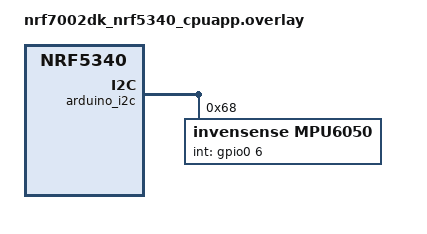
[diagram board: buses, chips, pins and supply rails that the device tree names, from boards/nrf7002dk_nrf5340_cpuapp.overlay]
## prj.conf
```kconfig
# Copyright (c) 2021 Nordic Semiconductor ASA
# SPDX-License-Identifier: Apache-2.0
#
# This file contains selected Kconfig options for the application.

# CONFIG_SENSOR=y
# CONFIG_BOOTLOADER_MCUBOOT=y
# CONFIG_SECURE_BOOT=y
# CONFIG_PCD_APP=y
# CONFIG_BOARD_ENABLE_CPUNET=y

CONFIG_SHELL=y
CONFIG_I2C=y
CONFIG_SENSOR=y
CONFIG_MPU6050_TRIGGER_NONE=y
CONFIG_CBPRINTF_FP_SUPPORT=y
```

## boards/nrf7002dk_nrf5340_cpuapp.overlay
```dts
/*
 * Copyright (c) 2022 Nordic Semiconductor
 * SPDX-License-Identifier: Apache-2.0
 */

&arduino_i2c {
	status = "okay";
	mpu6050@68 {
		compatible = "invensense,mpu6050";
		reg = <0x68>;
		status = "okay";
		int-gpios = <&gpio0 6 GPIO_ACTIVE_HIGH>;
	};
};
```

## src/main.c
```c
/*
 * Copyright (c) 2021 Nordic Semiconductor ASA
 * SPDX-License-Identifier: Apache-2.0
 */

#include <zephyr/kernel.h>

#include "app_version.h"

#include <zephyr/logging/log.h>
LOG_MODULE_REGISTER(main, CONFIG_APP_LOG_LEVEL);

int main(void)
{
	printk("Hello World! %s\n", CONFIG_BOARD);
	printk("Powered by Zephyr\n");
	return 0;
}
```
